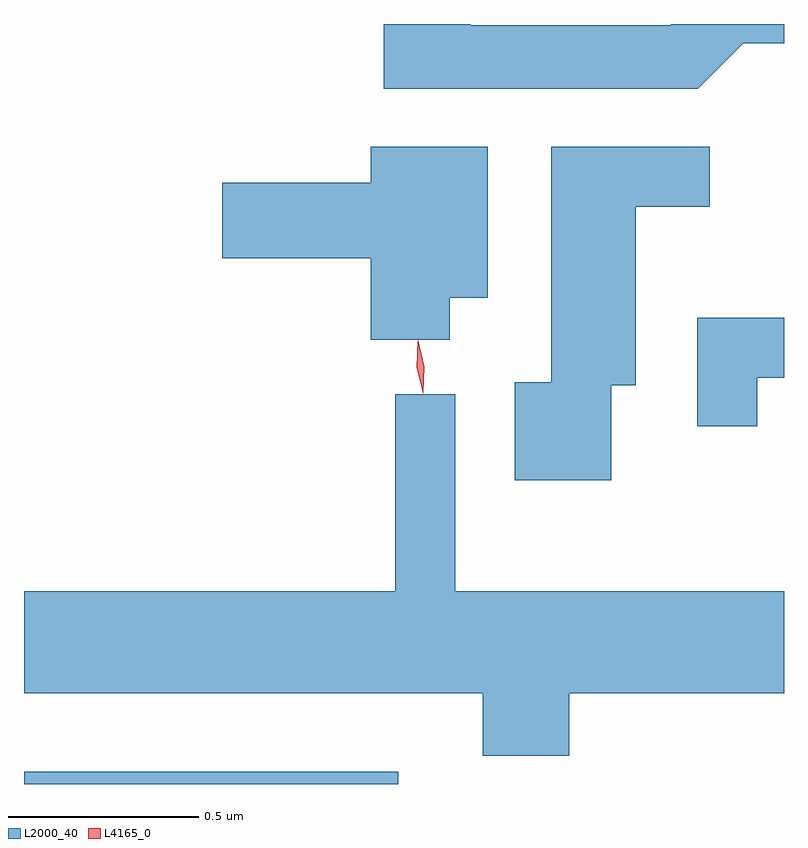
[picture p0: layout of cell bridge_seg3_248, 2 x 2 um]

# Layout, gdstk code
import gdstk
lib = gdstk.Library(unit=1e-6, precision=1e-09)
def R(c, l, rs):  # rectangles x0, y0, x1, y1
    for r in rs: c.add(gdstk.rectangle(r[:2], r[2:], *l))
def P(c, l, *ps):  # polygons
    for p in ps: c.add(gdstk.Polygon(p, *l))
L2000_40 = (2000, 40)
L4165_0 = (4165, 0)

bridge_seg3_248 = lib.new_cell('bridge_seg3_248')
R(bridge_seg3_248, L2000_40, [(963.254,1127.997,964.239,1128.029)])
P(bridge_seg3_248, L2000_40, [(965.147,1129.946),(965.254,1129.946),(965.254,1129.997),(964.957,1129.997),(964.954,1129.994),(964.429,1129.994),(964.429,1129.997),(964.201,1129.997),(964.201,1129.826),(965.027,1129.826)],
  [(964.374,1129.276),(964.474,1129.276),(964.474,1129.674),(964.166,1129.674),(964.166,1129.579),(963.776,1129.579),(963.776,1129.381),(964.166,1129.381),(964.166,1129.166),(964.374,1129.166)],
  [(964.799,1129.046),(964.864,1129.046),(964.864,1129.516),(965.058,1129.516),(965.058,1129.674),(964.641,1129.674),(964.641,1129.054),(964.546,1129.054),(964.546,1128.796),(964.799,1128.796)],
  [(965.184,1129.066),(965.254,1129.066),(965.254,1129.224),(965.026,1129.224),(965.026,1128.938),(965.184,1128.938)],
  [(964.689,1128.236),(965.254,1128.236),(965.254,1128.504),(964.389,1128.504),(964.389,1129.023),(964.231,1129.023),(964.231,1128.504),(963.254,1128.504),(963.254,1128.236),(964.461,1128.236),(964.461,1128.071),(964.689,1128.071)])
P(bridge_seg3_248, L4165_0, [(964.304,1129.025),(964.304,1129.025),(964.288,1129.093),(964.29,1129.163),(964.291,1129.164),(964.291,1129.163),(964.307,1129.095),(964.305,1129.025)])

lib.write_gds('bridge_seg3_248.gds')
